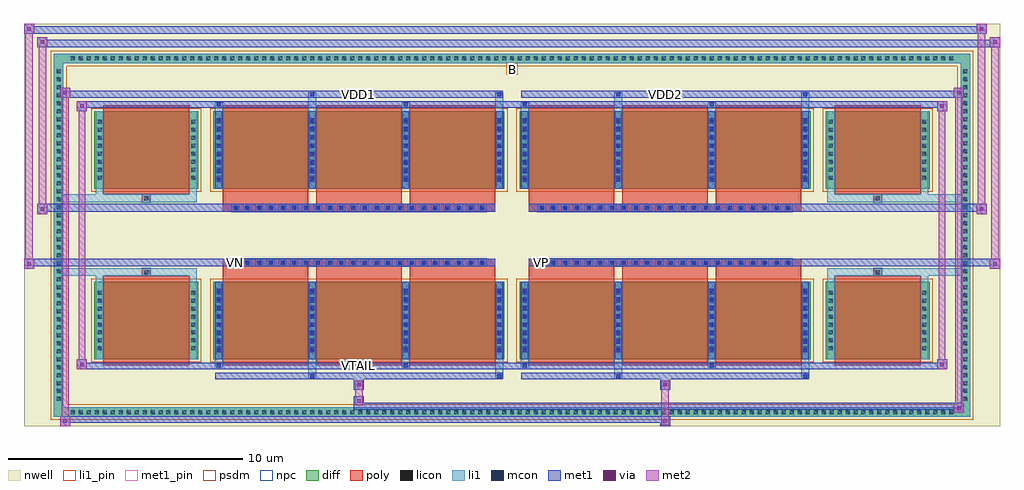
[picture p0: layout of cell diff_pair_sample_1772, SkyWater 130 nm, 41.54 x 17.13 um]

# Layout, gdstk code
import gdstk
lib = gdstk.Library(unit=1e-6, precision=5e-09)
def R(c, l, rs):  # rectangles x0, y0, x1, y1
    for r in rs: c.add(gdstk.rectangle(r[:2], r[2:], *l))
def A(c, l, x, y, w, h, nx, ny, dx, dy):  # array of equal rectangles
    R(c, l, [(x+i*dx, y+j*dy, x+i*dx+w, y+j*dy+h) for i in range(nx) for j in range(ny)])
def P(c, l, *ps):  # polygons
    for p in ps: c.add(gdstk.Polygon(p, *l))
nwell = (64, 20)
diff = (65, 20)
poly = (66, 20)
licon = (66, 44)
li1_pin = (67, 16)
li1 = (67, 20)
mcon = (67, 44)
met1_pin = (68, 16)
met1 = (68, 20)
via = (68, 44)
met2 = (69, 20)
psdm = (94, 20)
npc = (95, 20)

diff_pair_sample_1772 = lib.new_cell('diff_pair_sample_1772')
R(diff_pair_sample_1772, nwell, [(-20.77,-8.13,20.77,9), (-18.09,-6.32,-0.01,-0.8), (0.01,-6.32,18.09,-0.8), (-18.09,0.8,-0.01,6.32), (0.01,0.8,18.09,6.32)])
A(diff_pair_sample_1772, diff, -18.905, -7.73, 0.41, 0.41, 111, 2, 0.34, 15.05)
A(diff_pair_sample_1772, diff, -19.5, -7.175, 0.41, 0.41, 1, 42, 0, 0.34)
A(diff_pair_sample_1772, diff, 19.09, -7.175, 0.41, 0.41, 1, 42, 0, 0.34)
R(diff_pair_sample_1772, diff, [(-18.905,-7.73,18.905,-7.32), (-19.5,-7.175,-19.09,7.175), (19.09,-7.175,19.5,7.175), (-17.78,-5.275,-13.35,-1.985), (-12.71,-5.275,-0.32,-1.985), (0.32,-5.275,12.71,-1.985), (13.35,-5.275,17.78,-1.985), (-17.78,1.985,-13.35,5.275), (-12.71,1.985,-0.32,5.275), (0.32,1.985,12.71,5.275), (13.35,1.985,17.78,5.275), (-18.905,7.32,18.905,7.73)])
P(diff_pair_sample_1772, diff, [(19.5,7.73),(-19.5,7.73),(-19.5,-7.32),(-19.09,-7.32),(-19.09,7.32),(19.09,7.32),(19.09,-7.32),(-19.09,-7.32),(-19.5,-7.32),(-19.5,-7.73),(19.5,-7.73)])
A(diff_pair_sample_1772, poly, -12.32, -5.525, 3.65, 3.79, 3, 2, 3.98, 7.26)
A(diff_pair_sample_1772, poly, 0.71, -5.525, 3.65, 3.79, 3, 2, 3.98, 7.26)
A(diff_pair_sample_1772, poly, -12.32, -1.735, 3.65, 0.405, 3, 2, 3.98, 3.065)
A(diff_pair_sample_1772, poly, 0.71, -1.735, 3.65, 0.405, 3, 2, 3.98, 3.065)
A(diff_pair_sample_1772, poly, -11.93, -1.33, 0.33, 0.33, 22, 2, 0.5, 2.33)
A(diff_pair_sample_1772, poly, 1.1, -1.33, 0.33, 0.33, 22, 2, 0.5, 2.33)
R(diff_pair_sample_1772, poly, [(-17.39,-5.525,-13.74,-1.735), (13.74,-5.525,17.39,-1.735), (-15.73,-1.735,-15.4,-1.405), (-15.73,-1.735,-15.4,-1.405), (15.4,-1.735,15.73,-1.405), (15.4,-1.735,15.73,-1.405), (-12.32,-1.33,-0.71,-1), (0.71,-1.33,12.32,-1), (-12.32,1,-0.71,1.33), (0.71,1,12.32,1.33), (-15.73,1.405,-15.4,1.735), (-15.73,1.405,-15.4,1.735), (15.4,1.405,15.73,1.735), (15.4,1.405,15.73,1.735), (-17.39,1.735,-13.74,5.525), (13.74,1.735,17.39,5.525)])
A(diff_pair_sample_1772, licon, -18.785, -7.61, 0.17, 0.17, 111, 2, 0.34, 15.05)
A(diff_pair_sample_1772, licon, -19.38, -7.055, 0.17, 0.17, 1, 42, 0, 0.34)
A(diff_pair_sample_1772, licon, 19.21, -7.055, 0.17, 0.17, 1, 42, 0, 0.34)
A(diff_pair_sample_1772, licon, -17.64, -4.905, 0.17, 0.17, 1, 8, 0, 0.34)
A(diff_pair_sample_1772, licon, -13.66, -4.905, 0.17, 0.17, 1, 8, 0, 0.34)
A(diff_pair_sample_1772, licon, -12.57, -4.905, 0.17, 0.17, 4, 8, 3.98, 0.34)
A(diff_pair_sample_1772, licon, 0.46, -4.905, 0.17, 0.17, 4, 8, 3.98, 0.34)
A(diff_pair_sample_1772, licon, 13.49, -4.905, 0.17, 0.17, 1, 8, 0, 0.34)
A(diff_pair_sample_1772, licon, 17.47, -4.905, 0.17, 0.17, 1, 8, 0, 0.34)
A(diff_pair_sample_1772, licon, -11.85, -1.25, 0.17, 0.17, 22, 2, 0.5, 2.33)
A(diff_pair_sample_1772, licon, 1.18, -1.25, 0.17, 0.17, 22, 2, 0.5, 2.33)
A(diff_pair_sample_1772, licon, -17.64, 2.355, 0.17, 0.17, 1, 8, 0, 0.34)
A(diff_pair_sample_1772, licon, -13.66, 2.355, 0.17, 0.17, 1, 8, 0, 0.34)
A(diff_pair_sample_1772, licon, -12.57, 2.355, 0.17, 0.17, 4, 8, 3.98, 0.34)
A(diff_pair_sample_1772, licon, 0.46, 2.355, 0.17, 0.17, 4, 8, 3.98, 0.34)
A(diff_pair_sample_1772, licon, 13.49, 2.355, 0.17, 0.17, 1, 8, 0, 0.34)
A(diff_pair_sample_1772, licon, 17.47, 2.355, 0.17, 0.17, 1, 8, 0, 0.34)
R(diff_pair_sample_1772, licon, [(-15.65,-1.655,-15.48,-1.485), (15.48,-1.655,15.65,-1.485), (-15.65,1.485,-15.48,1.655), (15.48,1.485,15.65,1.655)])
R(diff_pair_sample_1772, li1_pin, [(-0.25,6.82,0.25,7.32)])
A(diff_pair_sample_1772, li1, -18.865, -7.69, 0.33, 0.33, 111, 2, 0.34, 15.05)
A(diff_pair_sample_1772, li1, -19.46, -7.135, 0.33, 0.33, 1, 42, 0, 0.34)
A(diff_pair_sample_1772, li1, 19.13, -7.135, 0.33, 0.33, 1, 42, 0, 0.34)
A(diff_pair_sample_1772, li1, -12.65, -5.275, 0.33, 3.29, 4, 2, 3.98, 7.26)
A(diff_pair_sample_1772, li1, 0.38, -5.275, 0.33, 3.29, 4, 2, 3.98, 7.26)
A(diff_pair_sample_1772, li1, -17.72, -4.985, 0.33, 0.33, 1, 8, 0, 0.34)
A(diff_pair_sample_1772, li1, -13.74, -4.985, 0.33, 0.33, 1, 8, 0, 0.34)
A(diff_pair_sample_1772, li1, -12.65, -4.985, 0.33, 0.33, 4, 8, 3.98, 0.34)
A(diff_pair_sample_1772, li1, 0.38, -4.985, 0.33, 0.33, 4, 8, 3.98, 0.34)
A(diff_pair_sample_1772, li1, 13.41, -4.985, 0.33, 0.33, 1, 8, 0, 0.34)
A(diff_pair_sample_1772, li1, 17.39, -4.985, 0.33, 0.33, 1, 8, 0, 0.34)
A(diff_pair_sample_1772, li1, -12.57, -4.975, 0.17, 0.17, 4, 8, 3.98, 0.36)
A(diff_pair_sample_1772, li1, -12.57, -4.975, 0.17, 2.69, 4, 2, 3.98, 7.26)
A(diff_pair_sample_1772, li1, 0.46, -4.975, 0.17, 0.17, 4, 8, 3.98, 0.36)
A(diff_pair_sample_1772, li1, 0.46, -4.975, 0.17, 2.69, 4, 2, 3.98, 7.26)
A(diff_pair_sample_1772, li1, -11.93, -1.33, 0.33, 0.33, 22, 2, 0.5, 2.33)
A(diff_pair_sample_1772, li1, 1.1, -1.33, 0.33, 0.33, 22, 2, 0.5, 2.33)
A(diff_pair_sample_1772, li1, -17.72, 2.275, 0.33, 0.33, 1, 8, 0, 0.34)
A(diff_pair_sample_1772, li1, -13.74, 2.275, 0.33, 0.33, 1, 8, 0, 0.34)
A(diff_pair_sample_1772, li1, -12.65, 2.275, 0.33, 0.33, 4, 8, 3.98, 0.34)
A(diff_pair_sample_1772, li1, 0.38, 2.275, 0.33, 0.33, 4, 8, 3.98, 0.34)
A(diff_pair_sample_1772, li1, 13.41, 2.275, 0.33, 0.33, 1, 8, 0, 0.34)
A(diff_pair_sample_1772, li1, 17.39, 2.275, 0.33, 0.33, 1, 8, 0, 0.34)
A(diff_pair_sample_1772, li1, -12.57, 2.285, 0.17, 0.17, 4, 8, 3.98, 0.36)
A(diff_pair_sample_1772, li1, 0.46, 2.285, 0.17, 0.17, 4, 8, 3.98, 0.36)
R(diff_pair_sample_1772, li1, [(-19.5,-7.73,-19.09,-7.32), (-19.5,-7.73,-19.09,-7.32), (-19.09,-7.73,19.09,-7.32), (19.09,-7.73,19.5,-7.32), (19.09,-7.73,19.5,-7.32), (-19.5,-7.32,-19.09,7.32), (19.09,-7.32,19.5,7.32), (-8.67,-6.08,-8.34,-5.275), (-8.59,-6.08,-8.42,-5.91), (-0.71,-6.08,-0.38,-5.275), (-0.63,-6.08,-0.46,-5.91), (4.36,-6.08,4.69,-5.275), (4.44,-6.08,4.61,-5.91), (12.32,-6.08,12.65,-5.275), (12.4,-6.08,12.57,-5.91), (-12.65,-5.65,-12.32,-5.275), (-12.57,-5.65,-12.4,-5.48), (-4.69,-5.65,-4.36,-5.275), (-4.61,-5.65,-4.44,-5.48), (0.38,-5.65,0.71,-5.275), (0.46,-5.65,0.63,-5.48), (8.34,-5.65,8.67,-5.275), (8.42,-5.65,8.59,-5.48), (-17.72,-5.275,-17.39,-1.985), (-13.74,-5.275,-13.41,-1.985), (13.41,-5.275,13.74,-1.985), (17.39,-5.275,17.72,-1.985), (-17.72,-1.985,-17.39,-1.405), (-13.74,-1.985,-13.41,-1.405), (13.41,-1.985,13.74,-1.405), (17.39,-1.985,17.72,-1.405), (-19.5,-1.735,-15.73,-1.405), (-17.72,-1.735,-15.73,-1.405), (-15.73,-1.735,-15.4,-1.405), (-15.4,-1.735,-13.41,-1.405), (13.41,-1.735,15.4,-1.405), (15.4,-1.735,15.73,-1.405), (15.4,-1.735,19.5,-1.405), (15.73,-1.735,17.72,-1.405), (-19.5,1.405,-15.73,1.735), (-17.72,1.405,-15.73,1.735), (-17.72,1.405,-17.39,1.985), (-15.73,1.405,-15.4,1.735), (-15.4,1.405,-13.41,1.735), (-13.74,1.405,-13.41,1.985), (13.41,1.405,15.4,1.735), (13.41,1.405,13.74,1.985), (15.4,1.405,15.73,1.735), (15.4,1.405,19.5,1.735), (15.73,1.405,17.72,1.735), (17.39,1.405,17.72,1.985), (-17.72,1.985,-17.39,5.275), (-13.74,1.985,-13.41,5.275), (13.41,1.985,13.74,5.275), (17.39,1.985,17.72,5.275), (-12.65,5.275,-12.32,5.65), (-8.67,5.275,-8.34,6.08), (-4.69,5.275,-4.36,5.65), (-0.71,5.275,-0.38,6.08), (0.38,5.275,0.71,5.65), (4.36,5.275,4.69,6.08), (8.34,5.275,8.67,5.65), (12.32,5.275,12.65,6.08), (-12.57,5.48,-12.4,5.65), (-4.61,5.48,-4.44,5.65), (0.46,5.48,0.63,5.65), (8.42,5.48,8.59,5.65), (-8.59,5.91,-8.42,6.08), (-0.63,5.91,-0.46,6.08), (4.44,5.91,4.61,6.08), (12.4,5.91,12.57,6.08), (-19.5,7.32,-19.09,7.73), (-19.5,7.32,-19.09,7.73), (-19.09,7.32,19.09,7.73), (19.09,7.32,19.5,7.73), (19.09,7.32,19.5,7.73)])
A(diff_pair_sample_1772, mcon, -12.57, -4.975, 0.17, 0.17, 4, 8, 3.98, 0.36)
A(diff_pair_sample_1772, mcon, 0.46, -4.975, 0.17, 0.17, 4, 8, 3.98, 0.36)
A(diff_pair_sample_1772, mcon, -11.85, -1.25, 0.17, 0.17, 22, 2, 0.5, 2.33)
A(diff_pair_sample_1772, mcon, 1.18, -1.25, 0.17, 0.17, 22, 2, 0.5, 2.33)
A(diff_pair_sample_1772, mcon, -12.57, 2.285, 0.17, 0.17, 4, 8, 3.98, 0.36)
A(diff_pair_sample_1772, mcon, 0.46, 2.285, 0.17, 0.17, 4, 8, 3.98, 0.36)
R(diff_pair_sample_1772, mcon, [(-8.59,-6.08,-8.42,-5.91), (-0.63,-6.08,-0.46,-5.91), (4.44,-6.08,4.61,-5.91), (12.4,-6.08,12.57,-5.91), (-12.57,-5.65,-12.4,-5.48), (-4.61,-5.65,-4.44,-5.48), (0.46,-5.65,0.63,-5.48), (8.42,-5.65,8.59,-5.48), (-12.57,5.48,-12.4,5.65), (-4.61,5.48,-4.44,5.65), (0.46,5.48,0.63,5.65), (8.42,5.48,8.59,5.65), (-8.59,5.91,-8.42,6.08), (-0.63,5.91,-0.46,6.08), (4.44,5.91,4.61,6.08), (12.4,5.91,12.57,6.08)])
R(diff_pair_sample_1772, met1_pin, [(-6.65,-5.69,-6.38,-5.42), (-11.9,-1.29,-11.63,-1.02), (1.13,-1.29,1.4,-1.02), (-6.65,5.87,-6.38,6.14), (6.38,5.87,6.65,6.14)])
A(diff_pair_sample_1772, met1, -12.63, -5.275, 0.29, 3.29, 4, 2, 3.98, 7.26)
A(diff_pair_sample_1772, met1, 0.4, -5.275, 0.29, 3.29, 4, 2, 3.98, 7.26)
A(diff_pair_sample_1772, met1, -12.63, -5.035, 0.29, 0.29, 4, 8, 3.98, 0.36)
A(diff_pair_sample_1772, met1, 0.4, -5.035, 0.29, 0.29, 4, 8, 3.98, 0.36)
A(diff_pair_sample_1772, met1, -11.91, -1.31, 0.29, 0.29, 22, 2, 0.5, 2.33)
A(diff_pair_sample_1772, met1, 1.12, -1.31, 0.29, 0.29, 22, 2, 0.5, 2.33)
A(diff_pair_sample_1772, met1, -12.63, 2.225, 0.29, 0.29, 4, 8, 3.98, 0.36)
A(diff_pair_sample_1772, met1, 0.4, 2.225, 0.29, 0.29, 4, 8, 3.98, 0.36)
R(diff_pair_sample_1772, met1, [(-19.23,-8.13,-18.8,-7.7), (6.3,-8.13,6.73,-7.7), (-19.23,-7.99,6.73,-7.7), (18.8,-7.56,19.23,-7.13), (-6.73,-7.42,19.23,-7.13), (-6.73,-7.28,-6.3,-6.85), (-6.73,-6.57,-6.3,-6.14), (6.3,-6.57,6.73,-6.14), (-12.63,-6.14,-0.4,-5.85), (-8.65,-6.14,-8.36,-5.85), (-0.69,-6.14,-0.4,-5.85), (0.4,-6.14,12.63,-5.85), (4.38,-6.14,4.67,-5.85), (12.34,-6.14,12.63,-5.85), (-18.52,-5.71,-18.09,-5.28), (-18.52,-5.71,-12.63,-5.42), (-12.63,-5.71,-12.34,-5.42), (-12.63,-5.71,-0.4,-5.42), (-4.67,-5.71,-4.38,-5.42), (-0.4,-5.71,0.4,-5.42), (0.4,-5.71,0.69,-5.42), (0.4,-5.71,12.63,-5.42), (8.36,-5.71,8.65,-5.42), (12.63,-5.71,18.52,-5.42), (18.09,-5.71,18.52,-5.28), (-20.77,-1.43,-20.34,-1), (20.34,-1.43,20.77,-1), (-20.77,-1.33,-0.71,-1), (-12.32,-1.33,-0.71,-1), (0.71,-1.33,12.32,-1), (0.71,-1.33,20.77,-1), (-20.2,0.9,-19.77,1.33), (19.77,0.9,20.2,1.33), (-20.2,1,-12.32,1.33), (-12.32,1,-0.71,1.33), (0.71,1,12.32,1.33), (12.32,1,20.2,1.33), (-18.52,5.28,-18.09,5.71), (18.09,5.28,18.52,5.71), (-18.52,5.42,-12.63,5.71), (-12.63,5.42,-12.34,5.71), (-12.63,5.42,-0.4,5.71), (-4.67,5.42,-4.38,5.71), (-0.4,5.42,0.4,5.71), (0.4,5.42,0.69,5.71), (0.4,5.42,12.63,5.71), (8.36,5.42,8.65,5.71), (12.63,5.42,18.52,5.71), (-19.23,5.85,-18.8,6.28), (-19.23,5.85,-12.63,6.14), (-12.63,5.85,-0.4,6.14), (-8.65,5.85,-8.36,6.14), (-0.69,5.85,-0.4,6.14), (0.4,5.85,12.63,6.14), (4.38,5.85,4.67,6.14), (12.34,5.85,12.63,6.14), (12.63,5.85,19.23,6.14), (18.8,5.85,19.23,6.28), (-20.2,8,-19.77,8.43), (-20.2,8,-18.09,8.33), (-18.09,8,18.09,8.33), (18.09,8,20.77,8.33), (20.34,8,20.77,8.43), (-20.77,8.57,-20.34,9), (-20.77,8.57,-18.09,8.9), (-18.09,8.57,18.09,8.9), (18.09,8.57,20.2,8.9), (19.77,8.57,20.2,9)])
R(diff_pair_sample_1772, via, [(-19.09,-7.99,-18.94,-7.84), (6.44,-7.99,6.59,-7.84), (18.94,-7.42,19.09,-7.27), (-6.59,-7.14,-6.44,-6.99), (-6.59,-6.43,-6.44,-6.28), (6.44,-6.43,6.59,-6.28), (-18.38,-5.57,-18.23,-5.42), (18.23,-5.57,18.38,-5.42), (-20.63,-1.29,-20.48,-1.14), (20.48,-1.29,20.63,-1.14), (-20.06,1.04,-19.91,1.19), (19.91,1.04,20.06,1.19), (-18.38,5.42,-18.23,5.57), (18.23,5.42,18.38,5.57), (-19.09,5.99,-18.94,6.14), (18.94,5.99,19.09,6.14), (-20.06,8.14,-19.91,8.29), (20.48,8.14,20.63,8.29), (-20.63,8.71,-20.48,8.86), (19.91,8.71,20.06,8.86)])
R(diff_pair_sample_1772, met2, [(-19.23,-8.13,-18.8,-7.7), (-19.16,-8.13,-18.87,6.28), (-18.87,-8.13,-18.8,-7.7), (-19.18,-8.08,-18.85,-7.75), (6.35,-8.08,6.68,-7.75), (6.35,-7.75,6.68,-6.52), (18.8,-7.56,19.23,-7.13), (18.87,-7.56,19.16,6.28), (19.16,-7.56,19.23,-7.13), (18.85,-7.51,19.18,-7.18), (-6.68,-7.23,-6.35,-6.9), (-6.68,-6.9,-6.35,-6.52), (-6.68,-6.52,-6.35,-6.19), (6.35,-6.52,6.68,-6.19), (-18.52,-5.71,-18.09,-5.28), (-18.45,-5.71,-18.16,5.71), (-18.16,-5.71,-18.09,-5.28), (18.09,-5.71,18.52,-5.28), (18.16,-5.71,18.45,5.71), (18.45,-5.71,18.52,-5.28), (-18.47,-5.66,-18.14,-5.33), (18.14,-5.66,18.47,-5.33), (-20.77,-1.43,-20.34,-1), (-20.72,-1.43,-20.39,9), (-20.39,-1.43,-20.34,-1), (20.34,-1.43,20.77,-1), (20.39,-1.43,20.72,8.43), (20.72,-1.43,20.77,-1), (-20.72,-1.38,-20.39,-1.05), (20.39,-1.38,20.72,-1.05), (-20.2,0.9,-19.77,1.33), (-20.15,0.9,-19.82,8.43), (-19.82,0.9,-19.77,1.33), (19.77,0.9,20.2,1.33), (19.82,0.9,20.15,9), (20.15,0.9,20.2,1.33), (-20.15,0.95,-19.82,1.28), (19.82,0.95,20.15,1.28), (-18.52,5.28,-18.09,5.71), (-18.16,5.28,-18.09,5.71), (18.09,5.28,18.52,5.71), (18.45,5.28,18.52,5.71), (-18.47,5.33,-18.14,5.66), (18.14,5.33,18.47,5.66), (-19.23,5.85,-18.8,6.28), (-18.87,5.85,-18.8,6.28), (18.8,5.85,19.23,6.28), (19.16,5.85,19.23,6.28), (-19.18,5.9,-18.85,6.23), (18.85,5.9,19.18,6.23), (-20.2,8,-19.77,8.43), (-19.82,8,-19.77,8.43), (20.34,8,20.77,8.43), (20.72,8,20.77,8.43), (-20.15,8.05,-19.82,8.38), (20.39,8.05,20.72,8.38), (-20.77,8.57,-20.34,9), (-20.39,8.57,-20.34,9), (19.77,8.57,20.2,9), (20.15,8.57,20.2,9), (-20.72,8.62,-20.39,8.95), (19.82,8.62,20.15,8.95)])
R(diff_pair_sample_1772, psdm, [(-17.91,-5.405,-13.22,-1.855), (-12.84,-5.405,-0.19,-1.855), (0.19,-5.405,12.84,-1.855), (13.22,-5.405,17.91,-1.855), (-17.91,1.855,-13.22,5.405), (-12.84,1.855,-0.19,5.405), (0.19,1.855,12.84,5.405), (13.22,1.855,17.91,5.405)])
P(diff_pair_sample_1772, psdm, [(19.63,7.86),(-19.63,7.86),(-19.63,-7.19),(-18.96,-7.19),(-18.96,7.19),(18.96,7.19),(18.96,-7.19),(-18.96,-7.19),(-19.63,-7.19),(-19.63,-7.86),(19.63,-7.86)])
A(diff_pair_sample_1772, npc, -11.95, -1.35, 0.37, 0.37, 22, 2, 0.5, 2.33)
A(diff_pair_sample_1772, npc, 1.08, -1.35, 0.37, 0.37, 22, 2, 0.5, 2.33)
R(diff_pair_sample_1772, npc, [(-15.75,-1.755,-15.38,-1.385), (15.38,-1.755,15.75,-1.385), (-11.95,-1.35,-11.08,-0.98), (-11.95,-1.35,-11.08,-0.98), (-11.45,-1.35,-10.58,-0.98), (-11.45,-1.35,-10.58,-0.98), (-10.95,-1.35,-10.08,-0.98), (-10.95,-1.35,-10.08,-0.98), (-10.45,-1.35,-9.58,-0.98), (-10.45,-1.35,-9.58,-0.98), (-9.95,-1.35,-9.08,-0.98), (-9.95,-1.35,-9.08,-0.98), (-9.45,-1.35,-8.58,-0.98), (-9.45,-1.35,-8.58,-0.98), (-8.95,-1.35,-8.08,-0.98), (-8.95,-1.35,-8.08,-0.98), (-8.45,-1.35,-7.58,-0.98), (-8.45,-1.35,-7.58,-0.98), (-7.95,-1.35,-7.08,-0.98), (-7.95,-1.35,-7.08,-0.98), (-7.45,-1.35,-6.58,-0.98), (-7.45,-1.35,-6.58,-0.98), (-6.95,-1.35,-6.08,-0.98), (-6.95,-1.35,-6.08,-0.98), (-6.45,-1.35,-5.58,-0.98), (-6.45,-1.35,-5.58,-0.98), (-5.95,-1.35,-5.08,-0.98), (-5.95,-1.35,-5.08,-0.98), (-5.45,-1.35,-4.58,-0.98), (-5.45,-1.35,-4.58,-0.98), (-4.95,-1.35,-4.08,-0.98), (-4.95,-1.35,-4.08,-0.98), (-4.45,-1.35,-3.58,-0.98), (-4.45,-1.35,-3.58,-0.98), (-3.95,-1.35,-3.08,-0.98), (-3.95,-1.35,-3.08,-0.98), (-3.45,-1.35,-2.58,-0.98), (-3.45,-1.35,-2.58,-0.98), (-2.95,-1.35,-2.08,-0.98), (-2.95,-1.35,-2.08,-0.98), (-2.45,-1.35,-1.58,-0.98), (-2.45,-1.35,-1.58,-0.98), (-1.95,-1.35,-1.08,-0.98), (-1.95,-1.35,-1.08,-0.98), (1.08,-1.35,1.95,-0.98), (1.08,-1.35,1.95,-0.98), (1.58,-1.35,2.45,-0.98), (1.58,-1.35,2.45,-0.98), (2.08,-1.35,2.95,-0.98), (2.08,-1.35,2.95,-0.98), (2.58,-1.35,3.45,-0.98), (2.58,-1.35,3.45,-0.98), (3.08,-1.35,3.95,-0.98), (3.08,-1.35,3.95,-0.98), (3.58,-1.35,4.45,-0.98), (3.58,-1.35,4.45,-0.98), (4.08,-1.35,4.95,-0.98), (4.08,-1.35,4.95,-0.98), (4.58,-1.35,5.45,-0.98), (4.58,-1.35,5.45,-0.98), (5.08,-1.35,5.95,-0.98), (5.08,-1.35,5.95,-0.98), (5.58,-1.35,6.45,-0.98), (5.58,-1.35,6.45,-0.98), (6.08,-1.35,6.95,-0.98), (6.08,-1.35,6.95,-0.98), (6.58,-1.35,7.45,-0.98), (6.58,-1.35,7.45,-0.98), (7.08,-1.35,7.95,-0.98), (7.08,-1.35,7.95,-0.98), (7.58,-1.35,8.45,-0.98), (7.58,-1.35,8.45,-0.98), (8.08,-1.35,8.95,-0.98), (8.08,-1.35,8.95,-0.98), (8.58,-1.35,9.45,-0.98), (8.58,-1.35,9.45,-0.98), (9.08,-1.35,9.95,-0.98), (9.08,-1.35,9.95,-0.98), (9.58,-1.35,10.45,-0.98), (9.58,-1.35,10.45,-0.98), (10.08,-1.35,10.95,-0.98), (10.08,-1.35,10.95,-0.98), (10.58,-1.35,11.45,-0.98), (10.58,-1.35,11.45,-0.98), (11.08,-1.35,11.95,-0.98), (11.08,-1.35,11.95,-0.98), (-11.95,0.98,-11.08,1.35), (-11.95,0.98,-11.08,1.35), (-11.45,0.98,-10.58,1.35), (-11.45,0.98,-10.58,1.35), (-10.95,0.98,-10.08,1.35), (-10.95,0.98,-10.08,1.35), (-10.45,0.98,-9.58,1.35), (-10.45,0.98,-9.58,1.35), (-9.95,0.98,-9.08,1.35), (-9.95,0.98,-9.08,1.35), (-9.45,0.98,-8.58,1.35), (-9.45,0.98,-8.58,1.35), (-8.95,0.98,-8.08,1.35), (-8.95,0.98,-8.08,1.35), (-8.45,0.98,-7.58,1.35), (-8.45,0.98,-7.58,1.35), (-7.95,0.98,-7.08,1.35), (-7.95,0.98,-7.08,1.35), (-7.45,0.98,-6.58,1.35), (-7.45,0.98,-6.58,1.35), (-6.95,0.98,-6.08,1.35), (-6.95,0.98,-6.08,1.35), (-6.45,0.98,-5.58,1.35), (-6.45,0.98,-5.58,1.35), (-5.95,0.98,-5.08,1.35), (-5.95,0.98,-5.08,1.35), (-5.45,0.98,-4.58,1.35), (-5.45,0.98,-4.58,1.35), (-4.95,0.98,-4.08,1.35), (-4.95,0.98,-4.08,1.35), (-4.45,0.98,-3.58,1.35), (-4.45,0.98,-3.58,1.35), (-3.95,0.98,-3.08,1.35), (-3.95,0.98,-3.08,1.35), (-3.45,0.98,-2.58,1.35), (-3.45,0.98,-2.58,1.35), (-2.95,0.98,-2.08,1.35), (-2.95,0.98,-2.08,1.35), (-2.45,0.98,-1.58,1.35), (-2.45,0.98,-1.58,1.35), (-1.95,0.98,-1.08,1.35), (-1.95,0.98,-1.08,1.35), (1.08,0.98,1.95,1.35), (1.08,0.98,1.95,1.35), (1.58,0.98,2.45,1.35), (1.58,0.98,2.45,1.35), (2.08,0.98,2.95,1.35), (2.08,0.98,2.95,1.35), (2.58,0.98,3.45,1.35), (2.58,0.98,3.45,1.35), (3.08,0.98,3.95,1.35), (3.08,0.98,3.95,1.35), (3.58,0.98,4.45,1.35), (3.58,0.98,4.45,1.35), (4.08,0.98,4.95,1.35), (4.08,0.98,4.95,1.35), (4.58,0.98,5.45,1.35), (4.58,0.98,5.45,1.35), (5.08,0.98,5.95,1.35), (5.08,0.98,5.95,1.35), (5.58,0.98,6.45,1.35), (5.58,0.98,6.45,1.35), (6.08,0.98,6.95,1.35), (6.08,0.98,6.95,1.35), (6.58,0.98,7.45,1.35), (6.58,0.98,7.45,1.35), (7.08,0.98,7.95,1.35), (7.08,0.98,7.95,1.35), (7.58,0.98,8.45,1.35), (7.58,0.98,8.45,1.35), (8.08,0.98,8.95,1.35), (8.08,0.98,8.95,1.35), (8.58,0.98,9.45,1.35), (8.58,0.98,9.45,1.35), (9.08,0.98,9.95,1.35), (9.08,0.98,9.95,1.35), (9.58,0.98,10.45,1.35), (9.58,0.98,10.45,1.35), (10.08,0.98,10.95,1.35), (10.08,0.98,10.95,1.35), (10.58,0.98,11.45,1.35), (10.58,0.98,11.45,1.35), (11.08,0.98,11.95,1.35), (11.08,0.98,11.95,1.35), (-15.75,1.385,-15.38,1.755), (15.38,1.385,15.75,1.755)])
diff_pair_sample_1772.add(gdstk.Label('VTAIL', (-6.515,-5.555), layer=68, texttype=5))
diff_pair_sample_1772.add(gdstk.Label('VN', (-11.765,-1.155), layer=68, texttype=5))
diff_pair_sample_1772.add(gdstk.Label('VP', (1.265,-1.155), layer=68, texttype=5))
diff_pair_sample_1772.add(gdstk.Label('B', (0,7.07), layer=67, texttype=5))
diff_pair_sample_1772.add(gdstk.Label('VDD2', (6.515,6.005), layer=68, texttype=5))
diff_pair_sample_1772.add(gdstk.Label('VDD1', (-6.515,6.005), layer=68, texttype=5))

lib.write_gds('diff_pair_sample_1772.gds')
